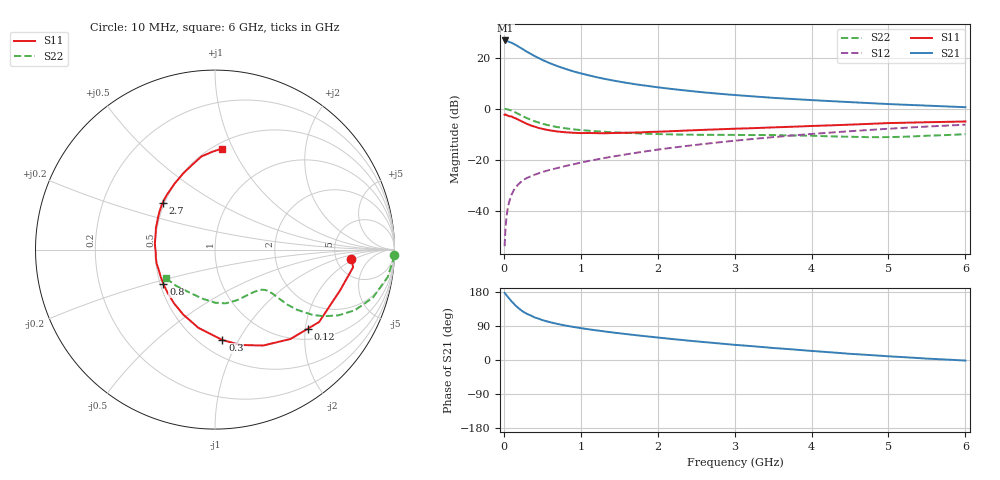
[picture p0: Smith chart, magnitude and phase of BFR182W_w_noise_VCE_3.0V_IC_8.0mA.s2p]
! Infineon Technologies  Discrete & RF Semiconductors
! BFR182W
! VCE =  3.0 V,  IC =  8.0 mA
! Common Emitter S-Parameters:  Jan 2017
# GHz  S  MA  R  50
!  f  S11  S21  S12  S22
! GHz  MAG  ANG  MAG  ANG  MAG  ANG  MAG  ANG
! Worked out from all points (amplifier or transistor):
!   77 points, 10 MHz to 6 GHz, reference 50 ohm
!   highest |S21| = 26.8 dB at 20 MHz (marker M1)
!   |S21| within 3 dB of that: start of sweep to 223 MHz
!   unconditionally stable (mu >= 1): 1.163 GHz to 2.733 GHz
!   at 130 MHz: K = 0.24, MSG = 28.7 dB, |S12| = -31.9 dB
!   at 2.2 GHz: K = 1.03, MAG = 10.4 dB, |S12| = -15.3 dB
!   at 6 GHz: K = 0.86, MSG = 3.4 dB, |S12| = -6.3 dB
!   lowest NFmin = 1.00 dB at 450 MHz
!   S11 on the Smith chart (normalised r, x): 10 MHz: 6.97, -1.67; 120 MHz: 1.26, -2.06; 300 MHz: 0.63, -0.86; 800 MHz: 0.52, -0.23; 2.7 GHz: 0.49, +0.30; 6 GHz: 0.55, +0.90
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0.01  0.7614 -3.8  21.67 177.2  0.002 83.4  0.9965 -1.8
0.02  0.7756 -7.3  21.99 174.8  0.004 93.9  0.9928 -3.8
0.05  0.7335 -17.9  21.22 166.9  0.0109 81.7  0.974 -9.1
0.07  0.7153 -24.5  20.57 162.2  0.0148 78.4  0.9499 -12.1
0.1  0.7066 -34.8  19.87 154.7  0.0206 75.8  0.9191 -17.0
0.12  0.6792 -40.5  19.1 150.7  0.0237 72.2  0.8897 -19.5
0.15  0.6519 -49.8  18.13 144.1  0.0285 68.2  0.8489 -23.5
0.2  0.5982 -63.3  16.34 135.2  0.0341 64.2  0.7781 -28.1
0.25  0.5502 -75.0  14.71 127.6  0.0398 60.9  0.7124 -31.4
0.3  0.5055 -85.3  13.19 121.7  0.0437 58.5  0.6546 -33.8
0.4  0.4455 -102.0  10.88 112.3  0.0506 57.3  0.5687 -36.2
0.5  0.403 -116.0  9.121 105.4  0.057 56.8  0.5085 -37.2
0.6  0.3762 -127.5  7.846 99.7  0.0634 57.2  0.4661 -37.3
0.8  0.3458 -146.1  6.089 91.0  0.0751 59.3  0.4134 -37.4
1.1  0.3343 -166.5  4.553 81.2  0.0941 61.6  0.3715 -38.1
1.5  0.3366 174.3  3.418 70.6  0.1208 63.0  0.3405 -41.3
2.1  0.3585 153.6  2.535 57.3  0.1651 62.4  0.316 -50.4
2.7  0.3904 138.3  2.036 45.6  0.2114 60.0  0.3076 -62.7
3.1  0.4099 129.4  1.817 38.5  0.2439 57.7  0.3055 -70.9
4.1  0.4645 111.2  1.454 22.5  0.3285 50.3  0.2919 -92.5
5.1  0.5276 97.0  1.221 8.6  0.4135 41.1  0.2797 -123.6
6  0.5629 86.3  1.075 -1.5  0.4868 32.0  0.3178 -150.2
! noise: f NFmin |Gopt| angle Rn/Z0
0.45  1  0.12  39  0.15
0.9  1.08  0.12  69  0.15
1.9  1.59  0.18  -174  0.13
2.4  1.85  0.18  -169  0.19
